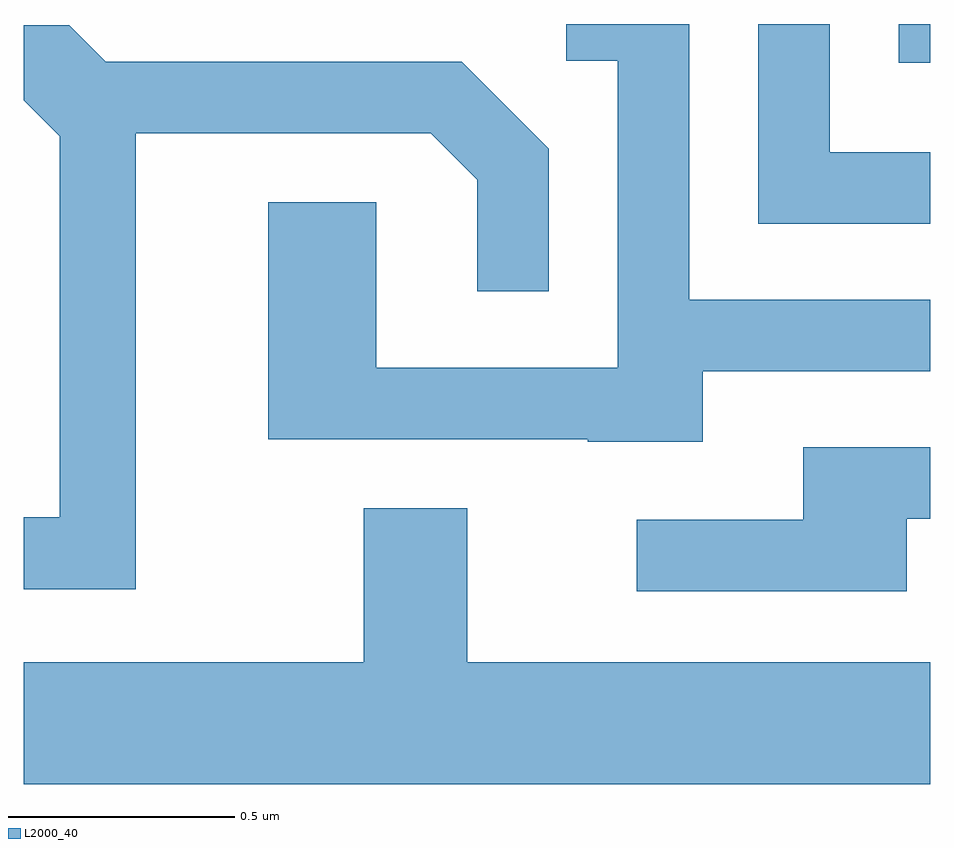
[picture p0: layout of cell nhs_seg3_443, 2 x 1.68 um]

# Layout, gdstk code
import gdstk
lib = gdstk.Library(unit=1e-6, precision=1e-09)
def R(c, l, rs):  # rectangles x0, y0, x1, y1
    for r in rs: c.add(gdstk.rectangle(r[:2], r[2:], *l))
def P(c, l, *ps):  # polygons
    for p in ps: c.add(gdstk.Polygon(p, *l))
L2000_40 = (2000, 40)

nhs_seg3_443 = lib.new_cell('nhs_seg3_443')
R(nhs_seg3_443, L2000_40, [(190.541,1149.806,190.611,1149.892)])
P(nhs_seg3_443, L2000_40, [(190.611,1149.609),(190.389,1149.609),(190.389,1149.892),(190.231,1149.892),(190.231,1149.451),(190.611,1149.451)],
  [(190.109,1149.126),(190.611,1149.126),(190.611,1149.284),(190.079,1149.284),(190.079,1149.892),(189.808,1149.892),(189.808,1149.811),(189.921,1149.811),(189.921,1149.134),(189.389,1149.134),(189.389,1149.499),(189.151,1149.499),(189.151,1148.976),(189.855,1148.976),(189.855,1148.971),(190.109,1148.971)],
  [(188.859,1149.651),(189.509,1149.651),(189.611,1149.549),(189.611,1149.303),(189.769,1149.303),(189.769,1149.617),(189.577,1149.809),(188.792,1149.809),(188.712,1149.889),(188.611,1149.889),(188.611,1149.724),(188.691,1149.644),(188.691,1148.804),(188.611,1148.804),(188.611,1148.646),(188.859,1148.646)],
  [(190.559,1148.801),(190.611,1148.801),(190.611,1148.959),(190.331,1148.959),(190.331,1148.799),(189.963,1148.799),(189.963,1148.641),(190.559,1148.641)],
  [(190.611,1148.484),(189.589,1148.484),(189.589,1148.824),(189.361,1148.824),(189.361,1148.484),(188.611,1148.484),(188.611,1148.216),(190.611,1148.216)])

lib.write_gds('nhs_seg3_443.gds')
